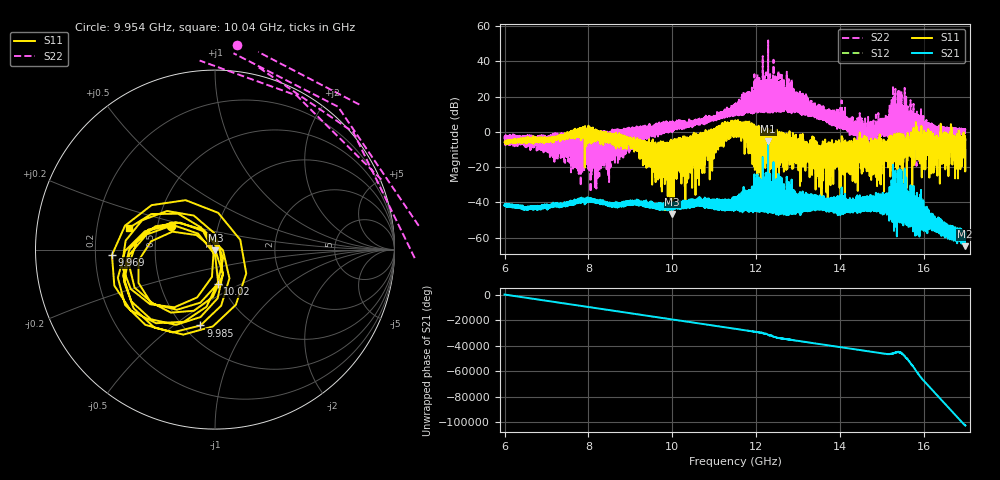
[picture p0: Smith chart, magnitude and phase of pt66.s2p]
#  HZ  S  RI  R  50.00
! Rohde & Schwarz Vector Network Analyzer
! Rohde-Schwarz,ZNA67-2Port,1332450062101215,3.01
! Created: UTC 10/16/2026, 1:36:17 PM
! freq[Hz]  re:S11  im:S11  re:S21  im:S21  re:S12  im:S12  re:S22  im:S22
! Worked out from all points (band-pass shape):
!   11001 points, 6 GHz to 17 GHz, reference 50 ohm
!   highest |S21| = -5.33 dB at 12.29 GHz (marker M1); lowest = -64.9 dB at 16.98 GHz (marker M2)
!   |S21| within 3 dB of the highest: 12.29091 GHz to 12.29109 GHz (174.6 kHz wide, 0.00142 % of centre)
!   lowest |S11| = -46.6 dB at 10 GHz (marker M3), VSWR 1.01, Z = 50.2 - j0.429 ohm
!   |S11| at or under -10 dB: 13.52826 GHz to 13.5683 GHz (40.05 MHz wide, 0.296 % of centre); 13.61269 GHz to 13.64721 GHz (34.52 MHz wide, 0.253 % of centre); 13.93517 GHz to 13.96251 GHz (27.34 MHz wide, 0.196 % of centre) (the widest 3 of 483)
!   |S22| runs from -34.3 to 51.8 dB; largest |S21 - S12| = 0.01
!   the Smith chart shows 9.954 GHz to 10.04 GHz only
!   S11 on the Smith chart (normalised r, x): 9.954 GHz: 0.59, +0.17; 9.969 GHz: 0.27, -0.02; 9.985 GHz: 0.60, -0.63; 10.02 GHz: 0.96, -0.38; 10.04 GHz: 0.34, +0.11
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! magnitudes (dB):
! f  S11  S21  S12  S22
! 6 GHz  -6.0  -41.7  -41.7  -4.1
! 7.834 GHz  -0.9  -38.1  -38.0  -0.8
! 8.488 GHz  -3.4  -41.0  -40.7  -1.0
! 9.667 GHz  -6.6  -41.6  -41.8  4.4
! 9.954 GHz  -11.1  -43.0  -43.1  1.2
! 9.969 GHz  -4.8  -43.2  -43.4  4.0
! 9.985 GHz  -7.3  -40.9  -40.9  5.2
! 10 GHz  -46.6  -43.1  -43.2  -0.2
! 10.02 GHz  -14.3  -40.8  -40.8  2.8
! 10.04 GHz  -6.1  -43.2  -43.3  4.0
! 11.5 GHz  6.4  -42.0  -42.1  11.4
! 12.29 GHz  -7.8  -5.3  -5.3  51.8
! 13.33 GHz  -8.3  -41.5  -41.5  11.2
! 13.54 GHz  -12.6  -41.5  -41.4  10.2
! 14.62 GHz  -9.6  -41.9  -41.7  -1.0
! 14.84 GHz  -4.1  -40.5  -40.4  -1.6
! 15.17 GHz  -12.2  -39.2  -39.3  5.0
! 15.68 GHz  -8.2  -37.9  -37.9  6.8
! 15.8 GHz  -2.4  -48.4  -48.3  1.2
! 16.19 GHz  -9.0  -50.9  -51.2  -0.7
! 16.98 GHz  -1.9  -64.9  -64.7  -0.9
! 17 GHz  -4.1  -59.1  -58.8  1.0
